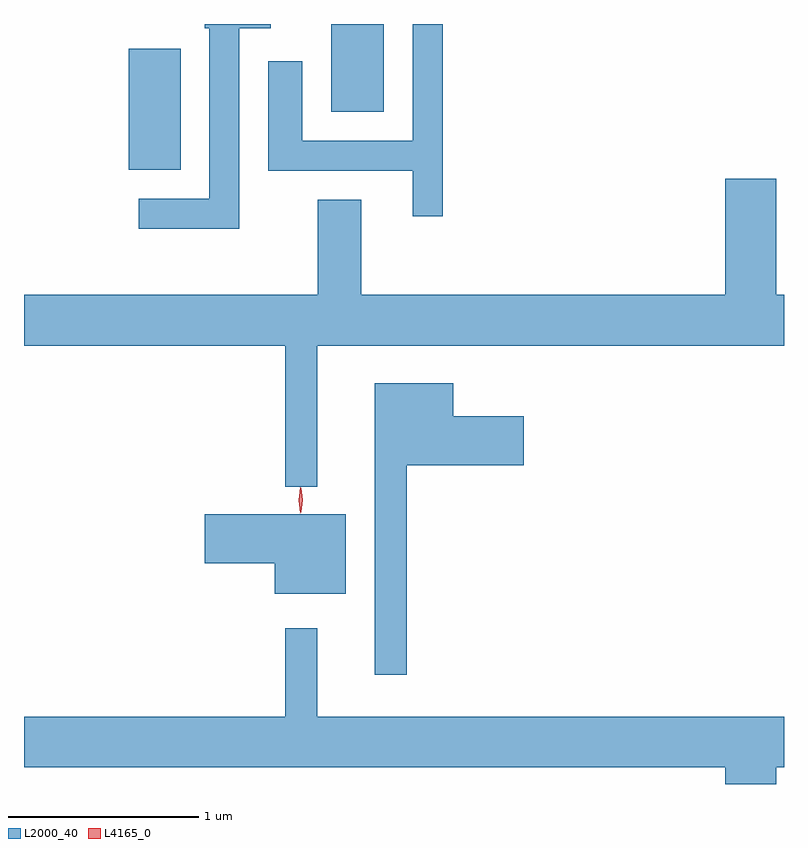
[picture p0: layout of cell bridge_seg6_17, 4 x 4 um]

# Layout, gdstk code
import gdstk
lib = gdstk.Library(unit=1e-6, precision=1e-09)
def R(c, l, rs):  # rectangles x0, y0, x1, y1
    for r in rs: c.add(gdstk.rectangle(r[:2], r[2:], *l))
def P(c, l, *ps):  # polygons
    for p in ps: c.add(gdstk.Polygon(p, *l))
L2000_40 = (2000, 40)
L4165_0 = (4165, 0)

bridge_seg6_17 = lib.new_cell('bridge_seg6_17')
R(bridge_seg6_17, L2000_40, [(1830.316,1613.121,1830.589,1613.759), (1831.381,1613.426,1831.659,1613.889)])
P(bridge_seg6_17, L2000_40, [(1830.899,1613.866),(1831.064,1613.866),(1831.064,1613.889),(1830.716,1613.889),(1830.716,1613.866),(1830.741,1613.866),(1830.741,1612.969),(1830.368,1612.969),(1830.368,1612.811),(1830.899,1612.811)],
  [(1831.969,1613.889),(1831.811,1613.889),(1831.811,1613.274),(1831.229,1613.274),(1831.229,1613.694),(1831.051,1613.694),(1831.051,1613.116),(1831.811,1613.116),(1831.811,1612.878),(1831.969,1612.878)],
  [(1831.309,1612.196),(1833.765,1612.196),(1833.765,1612.464),(1833.724,1612.464),(1833.724,1613.074),(1833.456,1613.074),(1833.456,1612.464),(1831.539,1612.464),(1831.539,1612.964),(1831.311,1612.964),(1831.311,1612.464),(1829.765,1612.464),(1829.765,1612.196),(1831.141,1612.196),(1831.141,1611.453),(1831.309,1611.453)],
  [(1831.779,1611.566),(1832.394,1611.566),(1832.394,1611.824),(1832.024,1611.824),(1832.024,1611.999),(1831.611,1611.999),(1831.611,1610.463),(1831.779,1610.463)],
  [(1831.459,1611.309),(1830.716,1611.309),(1830.716,1611.051),(1831.086,1611.051),(1831.086,1610.891),(1831.459,1610.891)],
  [(1833.724,1609.976),(1833.765,1609.976),(1833.765,1610.244),(1831.309,1610.244),(1831.309,1610.708),(1831.141,1610.708),(1831.141,1610.244),(1829.765,1610.244),(1829.765,1609.976),(1833.456,1609.976),(1833.456,1609.889),(1833.724,1609.889)])
P(bridge_seg6_17, L4165_0, [(1831.219,1611.314),(1831.21,1611.382),(1831.219,1611.45),(1831.22,1611.45),(1831.22,1611.45),(1831.23,1611.382),(1831.22,1611.314),(1831.22,1611.314)],
  [(1831.222,1611.32),(1831.222,1611.32),(1831.212,1611.384),(1831.222,1611.446),(1831.222,1611.447),(1831.223,1611.446),(1831.232,1611.384),(1831.223,1611.32)])

lib.write_gds('bridge_seg6_17.gds')
